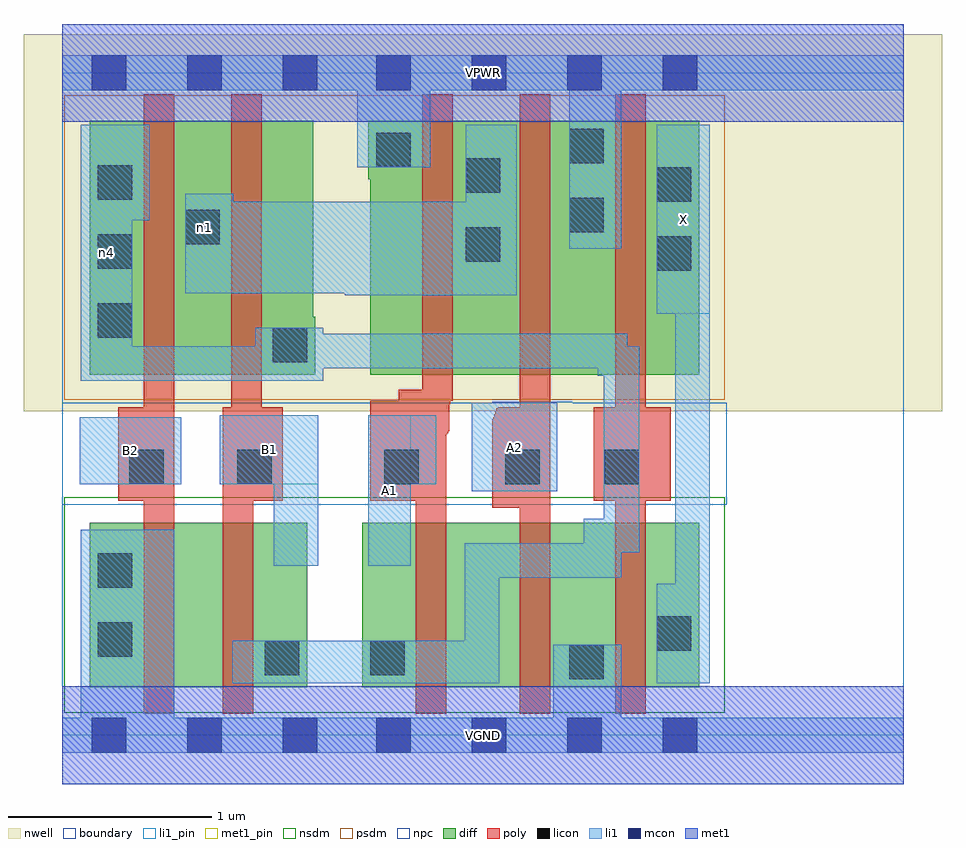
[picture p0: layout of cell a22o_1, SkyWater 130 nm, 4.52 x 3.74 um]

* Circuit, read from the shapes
.subckt a22o_1 A1 A2 B1 B2 VGND VPWR X n1 n4
XM1 n2 B2 VGND VSUBS sky130_fd_pr__nfet_01v8 w=0.81 l=0.15
XM2 n4 B1 n2 VSUBS sky130_fd_pr__nfet_01v8 w=0.81 l=0.15
XM3 n3 A1 n4 VSUBS sky130_fd_pr__nfet_01v8 w=0.81 l=0.15
XM4 VGND A2 n3 VSUBS sky130_fd_pr__nfet_01v8 w=0.81 l=0.15
XM5 X n4 VGND VSUBS sky130_fd_pr__nfet_01v8 w=0.81 l=0.15
XM6 n1 B2 n4 n5 sky130_fd_pr__pfet_01v8 w=1.25 l=0.15
XM7 n4 B1 n1 n5 sky130_fd_pr__pfet_01v8 w=1.25 l=0.15
XM8 n1 A1 VPWR n5 sky130_fd_pr__pfet_01v8 w=1.25 l=0.15
XM9 VPWR A2 n1 n5 sky130_fd_pr__pfet_01v8 w=1.25 l=0.15
XM10 X n4 VPWR n5 sky130_fd_pr__pfet_01v8 w=1.25 l=0.15
.ends

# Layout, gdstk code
import gdstk
lib = gdstk.Library(unit=1e-6, precision=1e-09)
def R(c, l, rs):  # rectangles x0, y0, x1, y1
    for r in rs: c.add(gdstk.rectangle(r[:2], r[2:], *l))
def A(c, l, x, y, w, h, nx, ny, dx, dy):  # array of equal rectangles
    R(c, l, [(x+i*dx, y+j*dy, x+i*dx+w, y+j*dy+h) for i in range(nx) for j in range(ny)])
nwell = (64, 20)
diff = (65, 20)
poly = (66, 20)
licon = (66, 44)
li1_pin = (67, 16)
li1 = (67, 20)
mcon = (67, 44)
met1_pin = (68, 16)
met1 = (68, 20)
nsdm = (93, 44)
psdm = (94, 20)
npc = (95, 20)
boundary = (235, 4)

a22o_1 = lib.new_cell('a22o_1')
R(a22o_1, nwell, [(-0.19,1.595,4.33,3.45), (0,1.595,4.14,3.45)])
R(a22o_1, diff, [(0.135,0.235,1.205,1.045), (1.475,0.235,3.135,1.045), (0.135,1.775,1.235,3.025), (0.135,1.775,1.245,2.06), (1.515,1.775,3.135,3.025), (1.505,2.735,3.135,3.025)])
R(a22o_1, poly, [(0.4,0.105,0.55,3.155), (0.79,0.105,0.94,1.615), (1.74,0.105,1.89,1.7), (2.25,0.105,2.4,3.155), (2.72,0.105,2.87,3.155), (2.115,1.12,2.4,1.555), (2.12,1.12,2.4,1.565), (2.125,1.12,2.4,1.58), (2.13,1.12,2.4,1.595), (2.135,1.12,2.4,1.61), (2.145,1.12,2.4,1.615), (0.275,1.155,0.55,1.615), (0.79,1.155,1.085,1.615), (0.83,1.155,0.98,3.155), (1.515,1.155,1.89,1.645), (2.615,1.155,2.995,1.615), (1.515,1.48,1.895,1.645), (1.515,1.485,1.9,1.645), (1.515,1.495,1.905,1.645), (1.515,1.63,1.91,1.645), (1.655,1.645,1.92,1.7), (1.77,1.645,1.92,3.155)])
A(a22o_1, licon, 0.175, 1.955, 0.17, 0.17, 1, 3, 0, 0.34)
R(a22o_1, licon, [(2.495,0.275,2.665,0.445), (0.995,0.295,1.165,0.465), (1.515,0.295,1.685,0.465), (0.175,0.385,0.345,0.555), (2.925,0.415,3.095,0.585), (0.175,0.725,0.345,0.895), (0.33,1.235,0.5,1.405), (0.86,1.235,1.03,1.405), (1.585,1.235,1.755,1.405), (2.18,1.235,2.35,1.405), (2.67,1.235,2.84,1.405), (1.035,1.835,1.205,2.005), (2.925,2.285,3.095,2.455), (1.985,2.33,2.155,2.5), (0.605,2.415,0.775,2.585), (2.495,2.475,2.665,2.645), (2.925,2.625,3.095,2.795), (1.985,2.67,2.155,2.84), (1.545,2.795,1.715,2.965), (2.495,2.815,2.665,2.985)])
R(a22o_1, li1_pin, [(1.505,0.835,1.715,1.575), (2.015,1.2,2.435,1.635), (0.085,1.235,0.585,1.565), (0.775,1.235,1.26,1.575), (2.925,2.075,3.185,3.005)])
R(a22o_1, li1, [(0,-0.085,4.14,0.085), (0.09,-0.085,0.55,1.01), (2.415,-0.085,2.75,0.445), (0.835,0.255,2.15,0.465), (1.98,0.255,2.15,0.945), (2.925,0.255,3.185,0.745), (3.015,0.255,3.185,3.005), (1.98,0.775,2.75,0.945), (2.565,0.775,2.75,1.065), (1.04,0.835,1.26,1.575), (1.505,0.835,1.715,1.575), (2.665,0.9,2.84,1.915), (2.015,1.2,2.435,1.635), (0.085,1.235,0.585,1.565), (0.775,1.235,1.26,1.575), (1.505,1.235,1.84,1.575), (0.09,1.745,0.345,3.005), (0.09,1.745,1.285,1.915), (0.95,1.745,1.285,2.005), (2.635,1.77,2.78,1.975), (0.95,1.805,2.78,1.975), (2.925,2.075,3.185,3.005), (1.39,2.165,2.235,2.625), (1.985,2.165,2.235,3.005), (0.605,2.175,2.235,2.625), (0.605,2.175,0.84,2.665), (0.605,2.335,0.795,2.665), (2.495,2.395,2.75,3.345), (0.09,2.535,0.43,3.005), (1.45,2.795,1.81,3.345), (0,3.175,4.14,3.345)])
A(a22o_1, mcon, 0.145, -0.085, 0.17, 0.17, 3, 2, 0.47, 3.26)
A(a22o_1, mcon, 1.545, -0.085, 0.17, 0.17, 4, 2, 0.47, 3.26)
R(a22o_1, met1_pin, [(0,-0.24,4.14,0.24), (0,3.02,4.14,3.5)])
R(a22o_1, met1, [(0,-0.24,4.14,0.24), (0,3.02,4.14,3.5)])
R(a22o_1, nsdm, [(0.01,0.11,3.26,1.17)])
R(a22o_1, psdm, [(0.01,1.65,3.26,3.15)])
R(a22o_1, npc, [(0,1.135,3.27,1.635), (2.115,1.135,2.51,1.64)])
R(a22o_1, boundary, [(0,0,4.14,3.26)])
a22o_1.add(gdstk.Label('A1', (1.61,1.205), layer=67, texttype=5))
a22o_1.add(gdstk.Label('A2', (2.225,1.417), layer=67, texttype=5))
a22o_1.add(gdstk.Label('B1', (1.017,1.405), layer=67, texttype=5))
a22o_1.add(gdstk.Label('B2', (0.335,1.4), layer=67, texttype=5))
a22o_1.add(gdstk.Label('X', (3.055,2.54), layer=67, texttype=5))
a22o_1.add(gdstk.Label('n4', (0.217,2.375), layer=67, texttype=5))
a22o_1.add(gdstk.Label('n1', (0.7,2.5), layer=67, texttype=5))
a22o_1.add(gdstk.Label('VPWR', (2.07,3.26), layer=68, texttype=5))
a22o_1.add(gdstk.Label('VGND', (2.07,0), layer=68, texttype=5))
a22o_1.add(gdstk.Label('A1', (1.61,1.205), layer=67, texttype=16))
a22o_1.add(gdstk.Label('A2', (2.225,1.417), layer=67, texttype=16))
a22o_1.add(gdstk.Label('B1', (1.017,1.405), layer=67, texttype=16))
a22o_1.add(gdstk.Label('B2', (0.335,1.4), layer=67, texttype=16))
a22o_1.add(gdstk.Label('X', (3.055,2.54), layer=67, texttype=16))
a22o_1.add(gdstk.Label('VPWR', (2.07,3.26), layer=68, texttype=16))
a22o_1.add(gdstk.Label('VGND', (2.07,0), layer=68, texttype=16))

lib.write_gds('a22o_1.gds')
